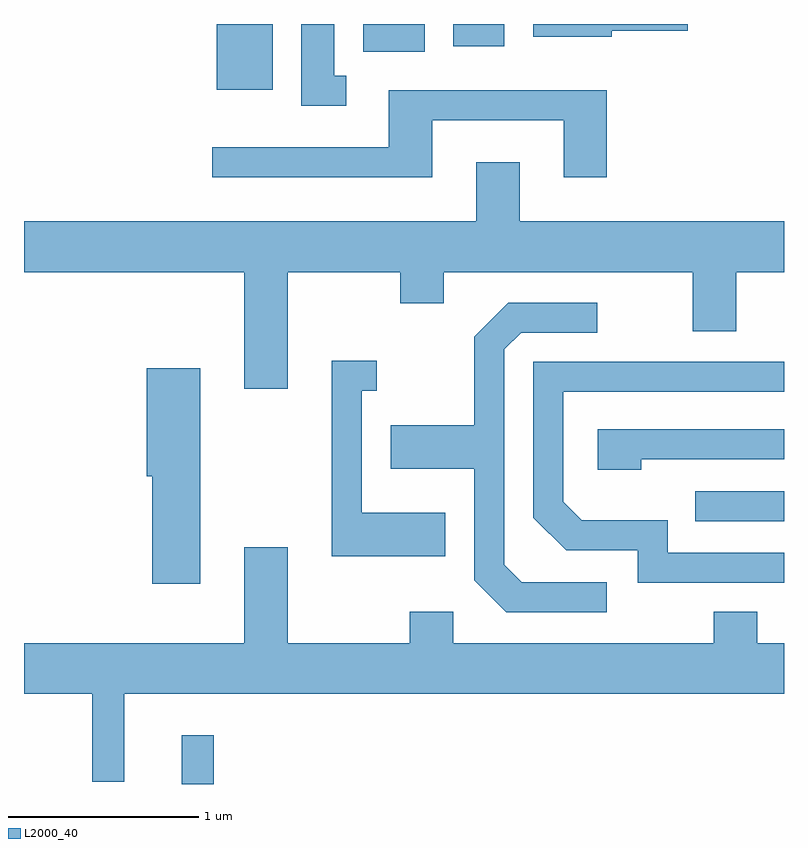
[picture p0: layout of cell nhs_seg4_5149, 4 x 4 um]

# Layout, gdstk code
import gdstk
lib = gdstk.Library(unit=1e-6, precision=1e-09)
def R(c, l, rs):  # rectangles x0, y0, x1, y1
    for r in rs: c.add(gdstk.rectangle(r[:2], r[2:], *l))
def P(c, l, *ps):  # polygons
    for p in ps: c.add(gdstk.Polygon(p, *l))
L2000_40 = (2000, 40)

nhs_seg4_5149 = lib.new_cell('nhs_seg4_5149')
R(nhs_seg4_5149, L2000_40, [(336.441,1351.982,336.609,1352.238), (339.143,1353.366,339.611,1353.524), (336.626,1355.636,336.919,1355.982), (337.396,1355.836,337.719,1355.982), (337.871,1355.866,338.139,1355.982)])
P(nhs_seg4_5149, L2000_40, [(338.704,1355.946),(339.104,1355.946),(339.104,1355.982),(338.291,1355.982),(338.291,1355.916),(338.704,1355.916)],
  [(337.308,1355.709),(337.244,1355.709),(337.244,1355.982),(337.071,1355.982),(337.071,1355.551),(337.308,1355.551)],
  [(337.759,1355.476),(338.451,1355.476),(338.451,1355.176),(338.679,1355.176),(338.679,1355.634),(337.531,1355.634),(337.531,1355.334),(336.603,1355.334),(336.603,1355.176),(337.759,1355.176)],
  [(336.999,1354.676),(337.591,1354.676),(337.591,1354.511),(337.819,1354.511),(337.819,1354.676),(339.131,1354.676),(339.131,1354.366),(339.359,1354.366),(339.359,1354.676),(339.611,1354.676),(339.611,1354.944),(338.219,1354.944),(338.219,1355.254),(337.991,1355.254),(337.991,1354.944),(335.611,1354.944),(335.611,1354.676),(336.771,1354.676),(336.771,1354.061),(336.999,1354.061)],
  [(338.678,1353.044),(338.232,1353.044),(338.139,1353.137),(338.139,1354.269),(338.227,1354.356),(338.628,1354.356),(338.628,1354.514),(338.159,1354.514),(337.981,1354.337),(337.981,1353.869),(337.541,1353.869),(337.541,1353.641),(337.981,1353.641),(337.981,1353.054),(338.149,1352.886),(338.678,1352.886)],
  [(337.829,1353.409),(337.389,1353.409),(337.389,1354.051),(337.468,1354.051),(337.468,1354.209),(337.231,1354.209),(337.231,1353.181),(337.829,1353.181)],
  [(339.611,1353.199),(338.999,1353.199),(338.999,1353.369),(338.547,1353.369),(338.449,1353.467),(338.449,1354.046),(339.611,1354.046),(339.611,1354.204),(338.291,1354.204),(338.291,1353.384),(338.464,1353.211),(338.841,1353.211),(338.841,1353.041),(339.611,1353.041)],
  [(336.539,1354.169),(336.256,1354.169),(336.256,1353.601),(336.286,1353.601),(336.286,1353.036),(336.539,1353.036)],
  [(338.859,1353.691),(339.611,1353.691),(339.611,1353.849),(338.631,1353.849),(338.631,1353.636),(338.859,1353.636)],
  [(336.139,1352.456),(339.611,1352.456),(339.611,1352.724),(339.469,1352.724),(339.469,1352.889),(339.241,1352.889),(339.241,1352.724),(337.869,1352.724),(337.869,1352.889),(337.641,1352.889),(337.641,1352.724),(336.999,1352.724),(336.999,1353.229),(336.771,1353.229),(336.771,1352.724),(335.611,1352.724),(335.611,1352.456),(335.971,1352.456),(335.971,1351.993),(336.139,1351.993)])

lib.write_gds('nhs_seg4_5149.gds')
